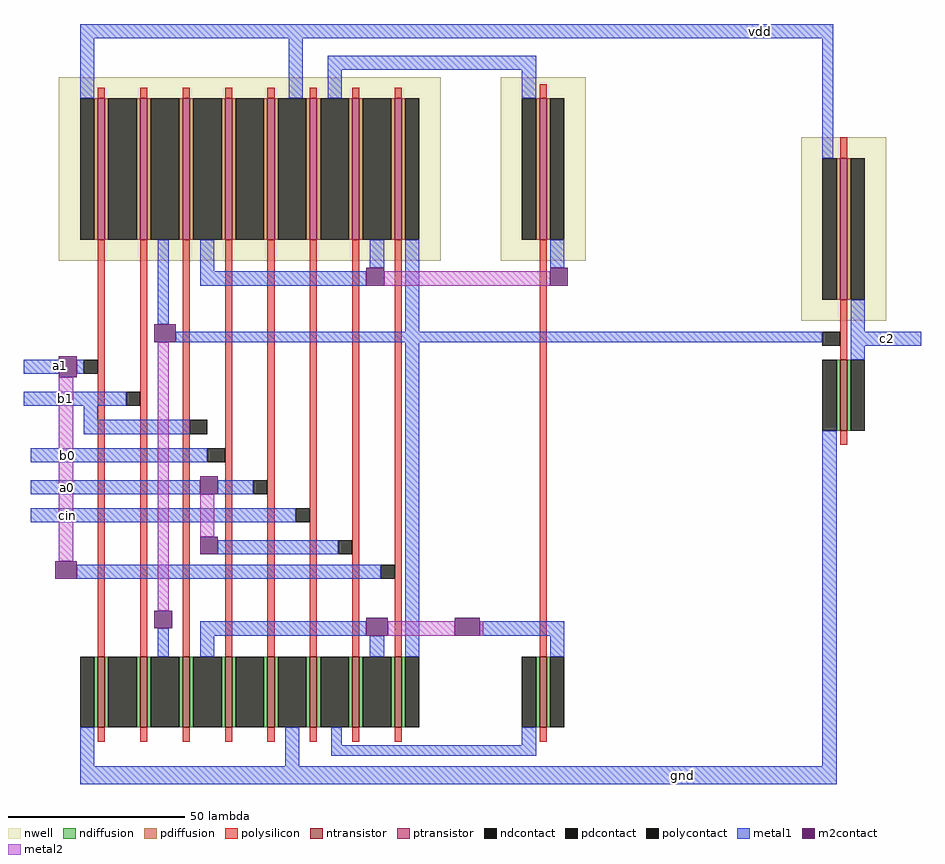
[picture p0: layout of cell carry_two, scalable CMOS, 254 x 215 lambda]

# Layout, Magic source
magic
tech scmos
<< nwell >>
rect 316 57 424 109
rect 441 57 465 109
rect 526 40 550 92
<< ntransistor >>
rect 537 9 539 29
rect 327 -75 329 -55
rect 339 -75 341 -55
rect 351 -75 353 -55
rect 363 -75 365 -55
rect 375 -75 377 -55
rect 387 -75 389 -55
rect 399 -75 401 -55
rect 411 -75 413 -55
rect 452 -75 454 -55
<< ptransistor >>
rect 327 63 329 103
rect 339 63 341 103
rect 351 63 353 103
rect 363 63 365 103
rect 375 63 377 103
rect 387 63 389 103
rect 399 63 401 103
rect 411 63 413 103
rect 452 63 454 103
rect 537 46 539 86
<< ndiffusion >>
rect 536 9 537 29
rect 539 9 540 29
rect 326 -75 327 -55
rect 329 -75 330 -55
rect 338 -75 339 -55
rect 341 -75 342 -55
rect 350 -75 351 -55
rect 353 -75 354 -55
rect 362 -75 363 -55
rect 365 -75 366 -55
rect 374 -75 375 -55
rect 377 -75 378 -55
rect 386 -75 387 -55
rect 389 -75 390 -55
rect 398 -75 399 -55
rect 401 -75 402 -55
rect 410 -75 411 -55
rect 413 -75 414 -55
rect 451 -75 452 -55
rect 454 -75 455 -55
<< pdiffusion >>
rect 326 63 327 103
rect 329 63 330 103
rect 338 63 339 103
rect 341 63 342 103
rect 350 63 351 103
rect 353 63 354 103
rect 362 63 363 103
rect 365 63 366 103
rect 374 63 375 103
rect 377 63 378 103
rect 386 63 387 103
rect 389 63 390 103
rect 398 63 399 103
rect 401 63 402 103
rect 410 63 411 103
rect 413 63 414 103
rect 451 63 452 103
rect 454 63 455 103
rect 536 46 537 86
rect 539 46 540 86
<< ndcontact >>
rect 532 9 536 29
rect 540 9 544 29
rect 322 -75 326 -55
rect 330 -75 338 -55
rect 342 -75 350 -55
rect 354 -75 362 -55
rect 366 -75 374 -55
rect 378 -75 386 -55
rect 390 -75 398 -55
rect 402 -75 410 -55
rect 414 -75 418 -55
rect 447 -75 451 -55
rect 455 -75 459 -55
<< pdcontact >>
rect 322 63 326 103
rect 330 63 338 103
rect 342 63 350 103
rect 354 63 362 103
rect 366 63 374 103
rect 378 63 386 103
rect 390 63 398 103
rect 402 63 410 103
rect 414 63 418 103
rect 447 63 451 103
rect 455 63 459 103
rect 532 46 536 86
rect 540 46 544 86
<< polysilicon >>
rect 327 103 329 106
rect 339 103 341 106
rect 351 103 353 106
rect 363 103 365 106
rect 375 103 377 106
rect 387 103 389 106
rect 399 103 401 106
rect 411 103 413 106
rect 452 103 454 107
rect 537 86 539 92
rect 327 -55 329 63
rect 339 -55 341 63
rect 351 -55 353 63
rect 363 -55 365 63
rect 375 -55 377 63
rect 387 -55 389 63
rect 399 -55 401 63
rect 411 -55 413 63
rect 452 -55 454 63
rect 537 29 539 46
rect 537 5 539 9
rect 327 -79 329 -75
rect 339 -79 341 -75
rect 351 -79 353 -75
rect 363 -79 365 -75
rect 375 -79 377 -75
rect 387 -79 389 -75
rect 399 -79 401 -75
rect 411 -79 413 -75
rect 452 -79 454 -75
<< polycontact >>
rect 323 25 327 29
rect 335 16 339 20
rect 353 8 358 12
rect 358 0 363 4
rect 371 -9 375 -5
rect 383 -17 387 -13
rect 395 -26 399 -22
rect 407 -33 411 -29
rect 532 33 537 37
<< metal1 >>
rect 322 120 535 124
rect 322 103 326 120
rect 381 103 385 120
rect 392 111 451 115
rect 392 103 396 111
rect 447 103 451 111
rect 344 39 347 63
rect 356 54 360 63
rect 404 55 408 63
rect 356 50 403 54
rect 414 37 418 63
rect 455 55 459 63
rect 532 86 535 120
rect 540 37 544 46
rect 349 34 532 37
rect 306 25 316 29
rect 321 25 323 29
rect 306 16 335 20
rect 323 12 327 16
rect 323 8 353 12
rect 308 0 358 4
rect 308 -9 356 -5
rect 361 -9 371 -5
rect 308 -17 383 -13
rect 361 -26 395 -22
rect 321 -33 407 -29
rect 344 -55 347 -47
rect 356 -49 403 -45
rect 356 -55 360 -49
rect 404 -55 408 -49
rect 414 -55 418 34
rect 540 33 560 37
rect 540 29 544 33
rect 435 -49 459 -45
rect 455 -55 459 -49
rect 322 -86 326 -75
rect 380 -86 384 -75
rect 393 -80 396 -75
rect 447 -80 451 -75
rect 393 -83 451 -80
rect 532 -86 536 9
rect 322 -91 536 -86
<< m2contact >>
rect 403 50 408 55
rect 343 34 349 39
rect 455 50 460 55
rect 316 24 321 30
rect 356 -9 361 -4
rect 356 -26 361 -21
rect 315 -33 321 -28
rect 343 -47 348 -42
rect 403 -49 409 -44
rect 428 -49 435 -44
<< metal2 >>
rect 408 50 455 54
rect 316 -28 320 24
rect 344 -42 347 34
rect 356 -21 360 -9
rect 409 -49 428 -45
rect 435 -49 436 -45
<< labels >>
rlabel metal1 510 120 519 124 5 vdd
rlabel metal1 548 33 553 37 1 c2
rlabel metal1 489 -90 496 -87 1 gnd
rlabel metal1 315 26 318 29 3 a1
rlabel metal1 316 16 320 20 3 b1
rlabel metal1 317 0 320 4 3 b0
rlabel metal1 317 -9 320 -5 3 a0
rlabel metal1 317 -17 320 -13 3 cin
<< end >>
